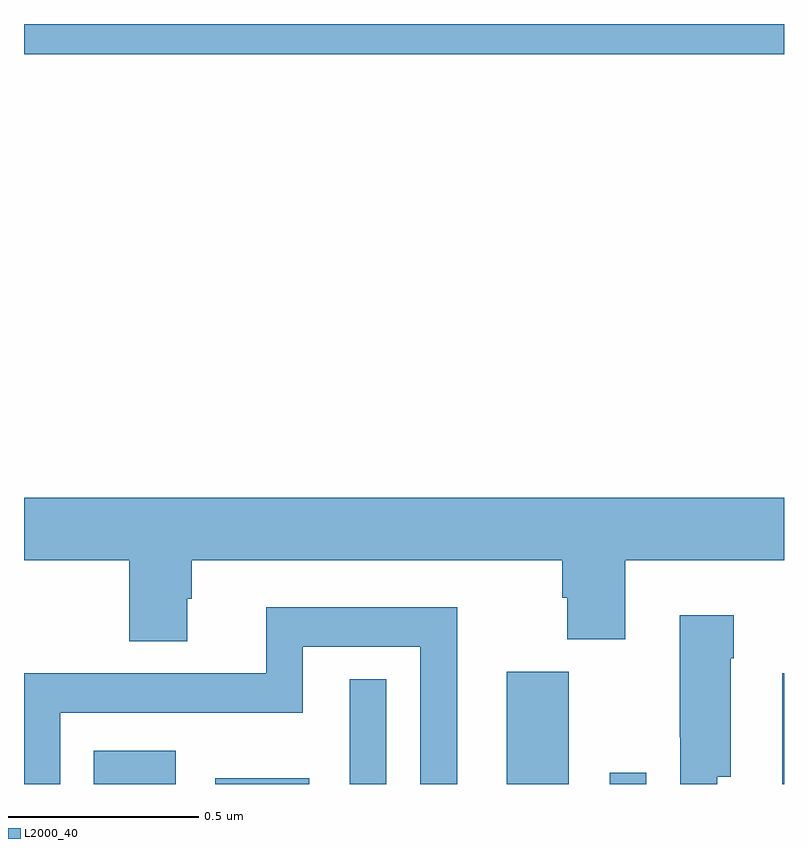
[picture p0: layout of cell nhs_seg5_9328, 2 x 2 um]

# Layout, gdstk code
import gdstk
lib = gdstk.Library(unit=1e-6, precision=1e-09)
def R(c, l, rs):  # rectangles x0, y0, x1, y1
    for r in rs: c.add(gdstk.rectangle(r[:2], r[2:], *l))
def P(c, l, *ps):  # polygons
    for p in ps: c.add(gdstk.Polygon(p, *l))
L2000_40 = (2000, 40)

nhs_seg5_9328 = lib.new_cell('nhs_seg5_9328')
R(nhs_seg5_9328, L2000_40, [(232.184,894.799,232.399,894.886), (232.503,894.799,232.75,894.814), (232.857,894.799,232.953,895.075), (233.27,894.799,233.434,895.095), (233.541,894.799,233.637,894.829), (233.996,894.799,234,895.09), (232,896.72,234,896.799)])
P(nhs_seg5_9328, L2000_40, [(232.429,895.287),(232.442,895.287),(232.442,895.388),(233.417,895.388),(233.417,895.289),(233.429,895.289),(233.429,895.18),(233.582,895.18),(233.582,895.388),(234,895.388),(234,895.552),(232,895.552),(232,895.388),(232.277,895.388),(232.277,895.175),(232.429,895.175)],
  [(232.095,894.986),(232.734,894.986),(232.734,895.16),(233.043,895.16),(233.043,894.799),(233.14,894.799),(233.14,895.264),(232.637,895.264),(232.637,895.09),(232,895.09),(232,894.799),(232.095,894.799)],
  [(233.824,894.818),(233.86,894.818),(233.86,895.13),(233.868,895.13),(233.868,895.243),(233.726,895.243),(233.726,894.922),(233.727,894.922),(233.727,894.799),(233.824,894.799)])

lib.write_gds('nhs_seg5_9328.gds')
